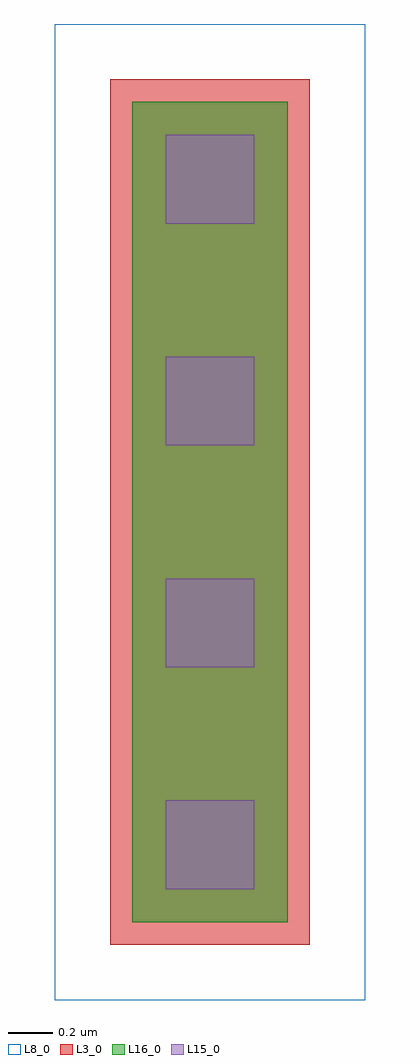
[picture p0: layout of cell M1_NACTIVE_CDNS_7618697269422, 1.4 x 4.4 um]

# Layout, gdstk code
import gdstk
lib = gdstk.Library(unit=1e-6, precision=1e-09)
def R(c, l, rs):  # rectangles x0, y0, x1, y1
    for r in rs: c.add(gdstk.rectangle(r[:2], r[2:], *l))
def A(c, l, x, y, w, h, nx, ny, dx, dy):  # array of equal rectangles
    R(c, l, [(x+i*dx, y+j*dy, x+i*dx+w, y+j*dy+h) for i in range(nx) for j in range(ny)])
L3_0 = (3, 0)
L8_0 = (8, 0)
L15_0 = (15, 0)
L16_0 = (16, 0)

m1_nactive_cdns_76186972 = lib.new_cell('M1_NACTIVE_CDNS_7618697269422')
R(m1_nactive_cdns_76186972, L3_0, [(-0.45,-1.95,0.45,1.95)])
R(m1_nactive_cdns_76186972, L8_0, [(-0.7,-2.2,0.7,2.2)])
A(m1_nactive_cdns_76186972, L15_0, -0.2, -1.7, 0.4, 0.4, 1, 4, 0, 1)
R(m1_nactive_cdns_76186972, L16_0, [(-0.35,-1.85,0.35,1.85)])

lib.write_gds('M1_NACTIVE_CDNS_7618697269422.gds')
